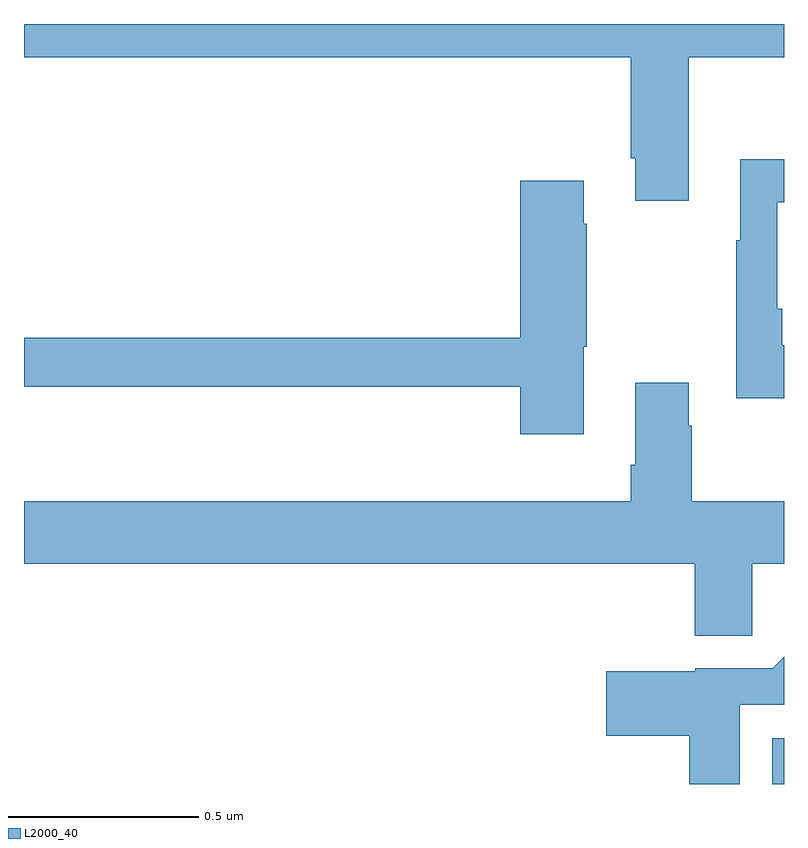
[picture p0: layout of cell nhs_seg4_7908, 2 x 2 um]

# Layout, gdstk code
import gdstk
lib = gdstk.Library(unit=1e-6, precision=1e-09)
def R(c, l, rs):  # rectangles x0, y0, x1, y1
    for r in rs: c.add(gdstk.rectangle(r[:2], r[2:], *l))
def P(c, l, *ps):  # polygons
    for p in ps: c.add(gdstk.Polygon(p, *l))
L2000_40 = (2000, 40)

nhs_seg4_7908 = lib.new_cell('nhs_seg4_7908')
R(nhs_seg4_7908, L2000_40, [(209.969,802.9,210,803.02)])
P(nhs_seg4_7908, L2000_40, [(209.749,804.812),(210,804.812),(210,804.9),(208,804.9),(208,804.812),(209.597,804.812),(209.597,804.547),(209.609,804.547),(209.609,804.435),(209.749,804.435)],
  [(210,804.055),(209.995,804.055),(209.995,804.151),(209.982,804.151),(209.982,804.431),(210,804.431),(210,804.544),(209.885,804.544),(209.885,804.331),(209.874,804.331),(209.874,803.915),(210,803.915)],
  [(209.473,804.051),(209.481,804.051),(209.481,804.374),(209.473,804.374),(209.473,804.487),(209.306,804.487),(209.306,804.074),(208,804.074),(208,803.946),(209.306,803.946),(209.306,803.82),(209.473,803.82)],
  [(209.916,803.48),(210,803.48),(210,803.644),(209.757,803.644),(209.757,803.843),(209.749,803.843),(209.749,803.956),(209.609,803.956),(209.609,803.74),(209.597,803.74),(209.597,803.644),(208,803.644),(208,803.48),(209.765,803.48),(209.765,803.29),(209.916,803.29)],
  [(209.884,803.109),(210,803.109),(210,803.235),(209.97,803.205),(209.766,803.205),(209.766,803.197),(209.532,803.197),(209.532,803.027),(209.75,803.027),(209.75,802.9),(209.884,802.9)])

lib.write_gds('nhs_seg4_7908.gds')
